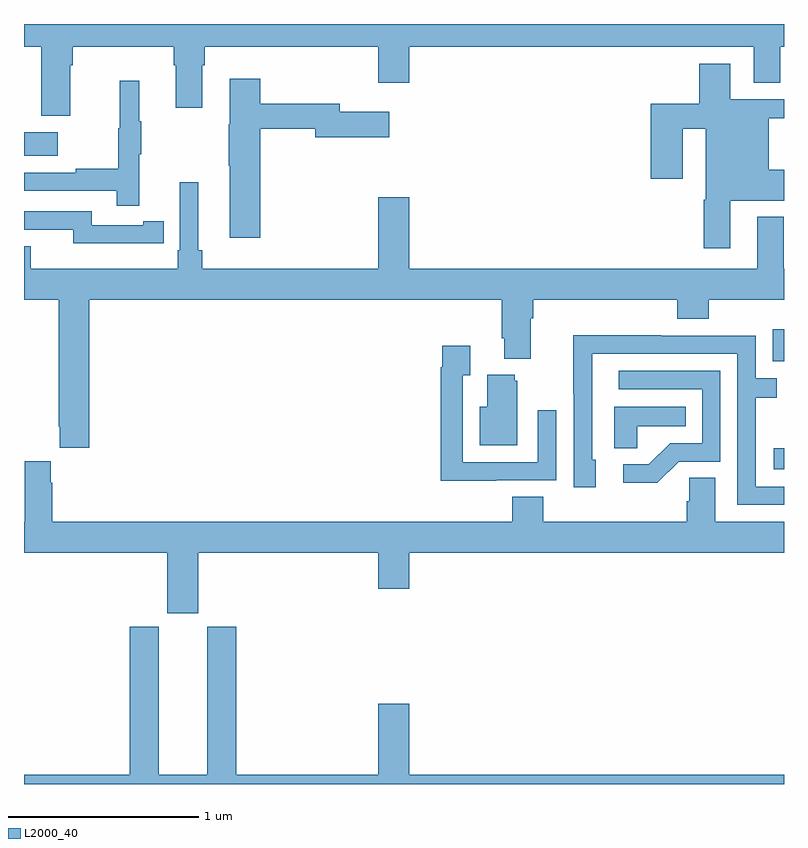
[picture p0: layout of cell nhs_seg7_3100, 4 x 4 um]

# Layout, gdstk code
import gdstk
lib = gdstk.Library(unit=1e-6, precision=1e-09)
def R(c, l, rs):  # rectangles x0, y0, x1, y1
    for r in rs: c.add(gdstk.rectangle(r[:2], r[2:], *l))
def P(c, l, *ps):  # polygons
    for p in ps: c.add(gdstk.Polygon(p, *l))
L2000_40 = (2000, 40)

nhs_seg7_3100 = lib.new_cell('nhs_seg7_3100')
R(nhs_seg7_3100, L2000_40, [(310.947,1067.657,311,1067.767), (310.941,1068.225,311,1068.394), (307,1069.307,307.177,1069.429)])
P(nhs_seg7_3100, L2000_40, [(307.243,1069.784),(307.256,1069.784),(307.256,1069.88),(307.787,1069.88),(307.787,1069.784),(307.799,1069.784),(307.799,1069.56),(307.939,1069.56),(307.939,1069.784),(307.952,1069.784),(307.952,1069.88),(308.864,1069.88),(308.864,1069.692),(309.028,1069.692),(309.028,1069.88),(310.841,1069.88),(310.841,1069.69),(310.981,1069.69),(310.981,1069.88),(311,1069.88),(311,1070),(307,1070),(307,1069.88),(307.091,1069.88),(307.091,1069.518),(307.243,1069.518)],
  [(310.717,1069.07),(311,1069.07),(311,1069.234),(310.921,1069.234),(310.921,1069.504),(311,1069.504),(311,1069.605),(310.717,1069.605),(310.717,1069.792),(310.553,1069.792),(310.553,1069.579),(310.298,1069.579),(310.298,1069.185),(310.468,1069.185),(310.468,1069.45),(310.589,1069.45),(310.589,1069.074),(310.577,1069.074),(310.577,1068.819),(310.717,1068.819)],
  [(308.243,1069.45),(308.534,1069.45),(308.534,1069.403),(308.923,1069.403),(308.923,1069.537),(308.662,1069.537),(308.662,1069.579),(308.243,1069.579),(308.243,1069.711),(308.084,1069.711),(308.084,1069.473),(308.077,1069.473),(308.077,1069.255),(308.084,1069.255),(308.084,1068.876),(308.243,1068.876)],
  [(307.607,1069.315),(307.618,1069.315),(307.618,1069.489),(307.607,1069.489),(307.607,1069.702),(307.504,1069.702),(307.504,1069.452),(307.497,1069.452),(307.497,1069.238),(307.273,1069.238),(307.273,1069.218),(307,1069.218),(307,1069.122),(307.489,1069.122),(307.489,1069.044),(307.607,1069.044)],
  [(307.343,1068.548),(309.515,1068.548),(309.515,1068.346),(309.527,1068.346),(309.527,1068.239),(309.667,1068.239),(309.667,1068.452),(309.68,1068.452),(309.68,1068.548),(310.439,1068.548),(310.439,1068.449),(310.604,1068.449),(310.604,1068.548),(311,1068.548),(311,1068.712),(310.999,1068.712),(310.999,1068.985),(310.859,1068.985),(310.859,1068.712),(309.028,1068.712),(309.028,1069.087),(308.864,1069.087),(308.864,1068.712),(307.937,1068.712),(307.937,1068.808),(307.918,1068.808),(307.918,1069.168),(307.821,1069.168),(307.821,1068.808),(307.808,1068.808),(307.808,1068.712),(307.036,1068.712),(307.036,1068.829),(307,1068.829),(307,1068.548),(307.183,1068.548),(307.183,1067.881),(307.187,1067.881),(307.187,1067.769),(307.343,1067.769)],
  [(307.628,1068.846),(307.736,1068.846),(307.736,1068.962),(307.628,1068.962),(307.628,1068.942),(307.356,1068.942),(307.356,1069.014),(307,1069.014),(307,1068.918),(307.26,1068.918),(307.26,1068.845),(307.628,1068.845)],
  [(311,1067.565),(310.851,1067.565),(310.851,1068.034),(310.961,1068.034),(310.961,1068.135),(310.851,1068.135),(310.851,1068.36),(310.355,1068.36),(310.355,1068.362),(309.892,1068.362),(309.892,1068.055),(309.894,1068.055),(309.894,1067.562),(310.009,1067.562),(310.009,1067.706),(309.99,1067.706),(309.99,1068.264),(310.755,1068.264),(310.755,1067.469),(311,1067.469)],
  [(309.485,1067.598),(309.801,1067.598),(309.801,1067.968),(309.705,1067.968),(309.705,1067.694),(309.309,1067.694),(309.309,1068.151),(309.349,1068.151),(309.349,1068.307),(309.201,1068.307),(309.201,1068.194),(309.193,1068.194),(309.193,1067.597),(309.485,1067.597)],
  [(310.446,1067.697),(310.665,1067.697),(310.665,1068.174),(310.131,1068.174),(310.131,1068.078),(310.569,1068.078),(310.569,1067.793),(310.4,1067.793),(310.289,1067.682),(310.155,1067.682),(310.155,1067.585),(310.333,1067.585)],
  [(309.595,1068.123),(309.584,1068.123),(309.584,1068.154),(309.437,1068.154),(309.437,1067.986),(309.398,1067.986),(309.398,1067.783),(309.595,1067.783)],
  [(310.227,1067.882),(310.484,1067.882),(310.484,1067.986),(310.106,1067.986),(310.106,1067.767),(310.227,1067.767)],
  [(307.918,1067.216),(308.864,1067.216),(308.864,1067.028),(309.028,1067.028),(309.028,1067.216),(311,1067.216),(311,1067.38),(310.639,1067.38),(310.639,1067.612),(310.5,1067.612),(310.5,1067.489),(310.487,1067.489),(310.487,1067.38),(309.734,1067.38),(309.734,1067.513),(309.569,1067.513),(309.569,1067.38),(307.148,1067.38),(307.148,1067.585),(307.141,1067.585),(307.141,1067.698),(307.004,1067.698),(307.004,1067.38),(307,1067.38),(307,1067.216),(307.754,1067.216),(307.754,1066.899),(307.918,1066.899)],
  [(307,1066),(311,1066),(311,1066.048),(309.028,1066.048),(309.028,1066.423),(308.864,1066.423),(308.864,1066.048),(308.117,1066.048),(308.117,1066.827),(307.964,1066.827),(307.964,1066.048),(307.708,1066.048),(307.708,1066.827),(307.556,1066.827),(307.556,1066.048),(307,1066.048)])

lib.write_gds('nhs_seg7_3100.gds')
